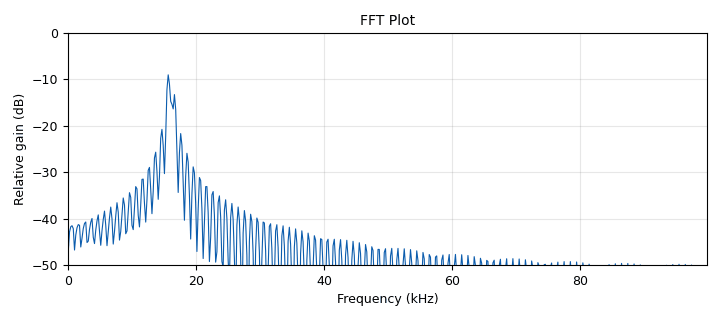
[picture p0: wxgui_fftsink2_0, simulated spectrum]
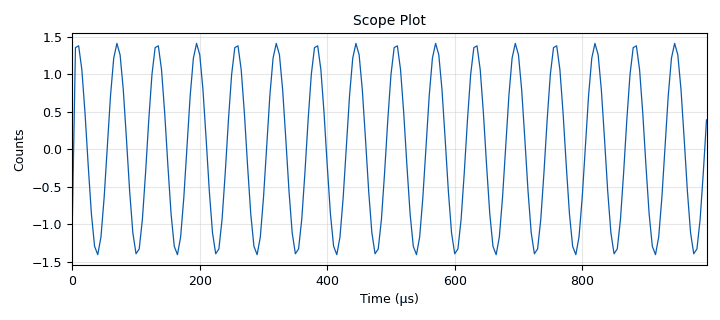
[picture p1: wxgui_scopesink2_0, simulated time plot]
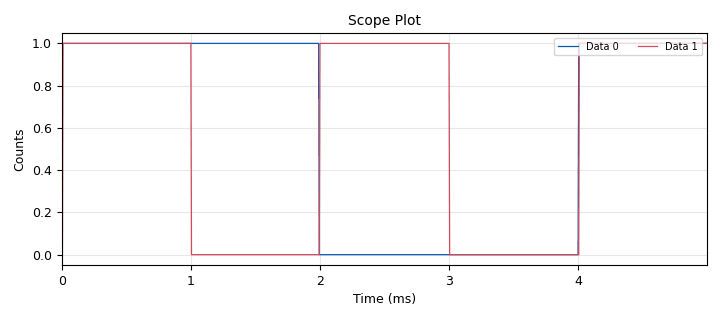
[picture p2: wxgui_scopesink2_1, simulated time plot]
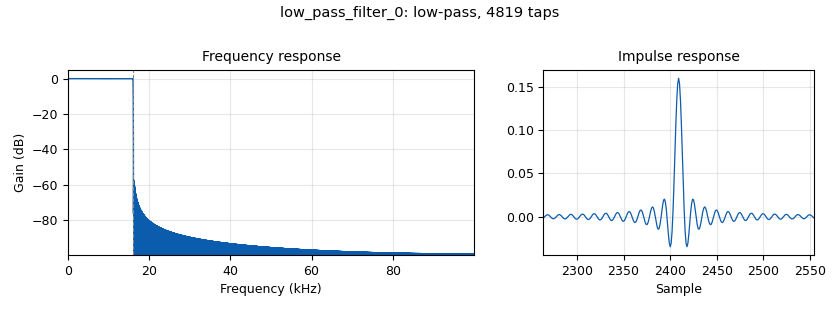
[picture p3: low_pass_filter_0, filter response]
<?xml version='1.0' encoding='utf-8'?>
<flow_graph>
<block>
<key>options</key>
<param><key>id</key><value>QPSK_TXRX_REAL</value></param>
<param><key>title</key><value>Real QPSK Transmitter/Receiver</value></param>
<param><key>author</key><value>ELEC350</value></param>
<param><key>generate_options</key><value>wx_gui</value></param>
<param><key>category</key><value>Custom</value></param>
</block>
<block>
<key>variable</key>
<param><key>id</key><value>samp_rate</value></param>
<param><key>value</key><value>200000</value></param>
</block>
<block>
<key>notebook</key>
<param><key>id</key><value>notebook_0</value></param>
<param><key>style</key><value>wx.NB_TOP</value></param>
<param><key>labels</key><value>['Transmitted Waveform', 'Transmitted Spectrum', 'Received Bits']</value></param>
</block>
<block>
<key>blocks_multiply_xx</key>
<param><key>id</key><value>blocks_multiply_xx_0</value></param>
<param><key>type</key><value>float</value></param>
</block>
<block>
<key>blocks_multiply_xx</key>
<param><key>id</key><value>blocks_multiply_xx_1</value></param>
<param><key>type</key><value>float</value></param>
</block>
<block>
<key>blocks_add_xx</key>
<param><key>id</key><value>blocks_add_xx_0</value></param>
<param><key>type</key><value>float</value></param>
</block>
<block>
<key>blocks_throttle</key>
<param><key>id</key><value>blocks_throttle_0</value></param>
<param><key>type</key><value>float</value></param>
<param><key>samples_per_second</key><value>samp_rate</value></param>
</block>
<block>
<key>virtual_sink</key>
<param><key>id</key><value>virtual_sink_0</value></param>
<param><key>stream_id</key><value>channel</value></param>
</block>
<block>
<key>note</key>
<param><key>id</key><value>note_0</value></param>
<param><key>note</key><value>Transmitter</value></param>
</block>
<block>
<key>virtual_source</key>
<param><key>id</key><value>virtual_source_0</value></param>
<param><key>stream_id</key><value>channel</value></param>
</block>
<block>
<key>blocks_multiply_xx</key>
<param><key>id</key><value>blocks_multiply_xx_2</value></param>
<param><key>type</key><value>float</value></param>
</block>
<block>
<key>blocks_multiply_xx</key>
<param><key>id</key><value>blocks_multiply_xx_3</value></param>
<param><key>type</key><value>float</value></param>
</block>
<block>
<key>low_pass_filter</key>
<param><key>id</key><value>low_pass_filter_0</value></param>
<param><key>type</key><value>fir_filter_fff</value></param>
<param><key>decim</key><value>1</value></param>
<param><key>gain</key><value>1</value></param>
<param><key>samp_rate</key><value>samp_rate</value></param>
<param><key>cutoff_freq</key><value>16000</value></param>
<param><key>width</key><value>100</value></param>
<param><key>win</key><value>firdes.WIN_HAMMING</value></param>
</block>
<block>
<key>low_pass_filter</key>
<param><key>id</key><value>low_pass_filter_1</value></param>
<param><key>type</key><value>fir_filter_fff</value></param>
<param><key>decim</key><value>1</value></param>
<param><key>gain</key><value>1</value></param>
<param><key>samp_rate</key><value>samp_rate</value></param>
<param><key>cutoff_freq</key><value>16000</value></param>
<param><key>width</key><value>100</value></param>
<param><key>win</key><value>firdes.WIN_HAMMING</value></param>
</block>
<block>
<key>blocks_threshold_ff</key>
<param><key>id</key><value>blocks_threshold_ff_0</value></param>
<param><key>low</key><value>-.25</value></param>
<param><key>high</key><value>.25</value></param>
<param><key>init</key><value>0</value></param>
</block>
<block>
<key>blocks_threshold_ff</key>
<param><key>id</key><value>blocks_threshold_ff_1</value></param>
<param><key>low</key><value>-0.25</value></param>
<param><key>high</key><value>0.25</value></param>
<param><key>init</key><value>0</value></param>
</block>
<block>
<key>note</key>
<param><key>id</key><value>note_1</value></param>
<param><key>note</key><value>Receiver</value></param>
</block>
<block>
<key>analog_sig_source_x</key>
<param><key>id</key><value>analog_sig_source_x_2</value></param>
<param><key>type</key><value>float</value></param>
<param><key>samp_rate</key><value>samp_rate</value></param>
<param><key>waveform</key><value>analog.GR_COS_WAVE</value></param>
<param><key>freq</key><value>16000</value></param>
<param><key>amp</key><value>1</value></param>
<param><key>offset</key><value>0</value></param>
</block>
<block>
<key>analog_sig_source_x</key>
<param><key>id</key><value>analog_sig_source_x_1</value></param>
<param><key>type</key><value>float</value></param>
<param><key>samp_rate</key><value>samp_rate</value></param>
<param><key>waveform</key><value>analog.GR_SQR_WAVE</value></param>
<param><key>freq</key><value>500</value></param>
<param><key>amp</key><value>2</value></param>
<param><key>offset</key><value>-1</value></param>
</block>
<block>
<key>analog_sig_source_x</key>
<param><key>id</key><value>analog_sig_source_x_5</value></param>
<param><key>type</key><value>float</value></param>
<param><key>samp_rate</key><value>samp_rate</value></param>
<param><key>waveform</key><value>analog.GR_SIN_WAVE</value></param>
<param><key>freq</key><value>16000</value></param>
<param><key>amp</key><value>1</value></param>
<param><key>offset</key><value>0</value></param>
</block>
<block>
<key>analog_sig_source_x</key>
<param><key>id</key><value>analog_sig_source_x_0</value></param>
<param><key>type</key><value>float</value></param>
<param><key>samp_rate</key><value>samp_rate</value></param>
<param><key>waveform</key><value>analog.GR_SQR_WAVE</value></param>
<param><key>freq</key><value>250</value></param>
<param><key>amp</key><value>2</value></param>
<param><key>offset</key><value>-1</value></param>
</block>
<block>
<key>analog_sig_source_x</key>
<param><key>id</key><value>analog_sig_source_x_3</value></param>
<param><key>type</key><value>float</value></param>
<param><key>samp_rate</key><value>samp_rate</value></param>
<param><key>waveform</key><value>analog.GR_SIN_WAVE</value></param>
<param><key>freq</key><value>16000</value></param>
<param><key>amp</key><value>1</value></param>
<param><key>offset</key><value>0</value></param>
</block>
<block>
<key>analog_sig_source_x</key>
<param><key>id</key><value>analog_sig_source_x_4</value></param>
<param><key>type</key><value>float</value></param>
<param><key>samp_rate</key><value>samp_rate</value></param>
<param><key>waveform</key><value>analog.GR_COS_WAVE</value></param>
<param><key>freq</key><value>16000</value></param>
<param><key>amp</key><value>-1</value></param>
<param><key>offset</key><value>0</value></param>
</block>
<block>
<key>wxgui_fftsink2</key>
<param><key>id</key><value>wxgui_fftsink2_0</value></param>
<param><key>type</key><value>float</value></param>
<param><key>title</key><value>FFT Plot</value></param>
<param><key>samp_rate</key><value>samp_rate</value></param>
<param><key>baseband_freq</key><value>0</value></param>
<param><key>y_per_div</key><value>5</value></param>
<param><key>y_divs</key><value>10</value></param>
<param><key>ref_level</key><value>0</value></param>
<param><key>ref_scale</key><value>2.0</value></param>
<param><key>fft_size</key><value>1024</value></param>
<param><key>fft_rate</key><value>30</value></param>
<param><key>peak_hold</key><value>False</value></param>
<param><key>average</key><value>False</value></param>
<param><key>avg_alpha</key><value>0</value></param>
<param><key>win</key><value>None</value></param>
<param><key>notebook</key><value>notebook_0,1</value></param>
<param><key>freqvar</key><value>None</value></param>
</block>
<block>
<key>wxgui_scopesink2</key>
<param><key>id</key><value>wxgui_scopesink2_0</value></param>
<param><key>type</key><value>float</value></param>
<param><key>title</key><value>Scope Plot</value></param>
<param><key>samp_rate</key><value>samp_rate</value></param>
<param><key>v_scale</key><value>0.5</value></param>
<param><key>v_offset</key><value>0</value></param>
<param><key>t_scale</key><value>0.0001</value></param>
<param><key>ac_couple</key><value>False</value></param>
<param><key>xy_mode</key><value>False</value></param>
<param><key>num_inputs</key><value>1</value></param>
<param><key>notebook</key><value>notebook_0,0</value></param>
<param><key>trig_mode</key><value>wxgui.TRIG_MODE_AUTO</value></param>
<param><key>y_axis_label</key><value>Counts</value></param>
</block>
<block>
<key>wxgui_scopesink2</key>
<param><key>id</key><value>wxgui_scopesink2_1</value></param>
<param><key>type</key><value>float</value></param>
<param><key>title</key><value>Scope Plot</value></param>
<param><key>samp_rate</key><value>samp_rate</value></param>
<param><key>v_scale</key><value>0.5</value></param>
<param><key>v_offset</key><value>0</value></param>
<param><key>t_scale</key><value>0.0005</value></param>
<param><key>ac_couple</key><value>False</value></param>
<param><key>xy_mode</key><value>False</value></param>
<param><key>num_inputs</key><value>2</value></param>
<param><key>notebook</key><value>notebook_0,2</value></param>
<param><key>trig_mode</key><value>wxgui.TRIG_MODE_AUTO</value></param>
<param><key>y_axis_label</key><value>Counts</value></param>
</block>
<connection><source_block_id>virtual_source_0</source_block_id><sink_block_id>blocks_multiply_xx_3</sink_block_id><source_key>0</source_key><sink_key>0</sink_key></connection>
<connection><source_block_id>virtual_source_0</source_block_id><sink_block_id>blocks_multiply_xx_2</sink_block_id><source_key>0</source_key><sink_key>0</sink_key></connection>
<connection><source_block_id>blocks_threshold_ff_1</source_block_id><sink_block_id>wxgui_scopesink2_1</sink_block_id><source_key>0</source_key><sink_key>1</sink_key></connection>
<connection><source_block_id>low_pass_filter_1</source_block_id><sink_block_id>blocks_threshold_ff_1</sink_block_id><source_key>0</source_key><sink_key>0</sink_key></connection>
<connection><source_block_id>blocks_threshold_ff_0</source_block_id><sink_block_id>wxgui_scopesink2_1</sink_block_id><source_key>0</source_key><sink_key>0</sink_key></connection>
<connection><source_block_id>low_pass_filter_0</source_block_id><sink_block_id>blocks_threshold_ff_0</sink_block_id><source_key>0</source_key><sink_key>0</sink_key></connection>
<connection><source_block_id>blocks_multiply_xx_3</source_block_id><sink_block_id>low_pass_filter_1</sink_block_id><source_key>0</source_key><sink_key>0</sink_key></connection>
<connection><source_block_id>blocks_multiply_xx_2</source_block_id><sink_block_id>low_pass_filter_0</sink_block_id><source_key>0</source_key><sink_key>0</sink_key></connection>
<connection><source_block_id>analog_sig_source_x_4</source_block_id><sink_block_id>blocks_multiply_xx_3</sink_block_id><source_key>0</source_key><sink_key>1</sink_key></connection>
<connection><source_block_id>analog_sig_source_x_3</source_block_id><sink_block_id>blocks_multiply_xx_2</sink_block_id><source_key>0</source_key><sink_key>1</sink_key></connection>
<connection><source_block_id>analog_sig_source_x_0</source_block_id><sink_block_id>blocks_multiply_xx_1</sink_block_id><source_key>0</source_key><sink_key>1</sink_key></connection>
<connection><source_block_id>analog_sig_source_x_1</source_block_id><sink_block_id>blocks_multiply_xx_0</sink_block_id><source_key>0</source_key><sink_key>1</sink_key></connection>
<connection><source_block_id>blocks_throttle_0</source_block_id><sink_block_id>virtual_sink_0</sink_block_id><source_key>0</source_key><sink_key>0</sink_key></connection>
<connection><source_block_id>blocks_throttle_0</source_block_id><sink_block_id>wxgui_fftsink2_0</sink_block_id><source_key>0</source_key><sink_key>0</sink_key></connection>
<connection><source_block_id>analog_sig_source_x_5</source_block_id><sink_block_id>blocks_multiply_xx_1</sink_block_id><source_key>0</source_key><sink_key>0</sink_key></connection>
<connection><source_block_id>analog_sig_source_x_2</source_block_id><sink_block_id>blocks_multiply_xx_0</sink_block_id><source_key>0</source_key><sink_key>0</sink_key></connection>
<connection><source_block_id>blocks_throttle_0</source_block_id><sink_block_id>wxgui_scopesink2_0</sink_block_id><source_key>0</source_key><sink_key>0</sink_key></connection>
<connection><source_block_id>blocks_add_xx_0</source_block_id><sink_block_id>blocks_throttle_0</sink_block_id><source_key>0</source_key><sink_key>0</sink_key></connection>
<connection><source_block_id>blocks_multiply_xx_1</source_block_id><sink_block_id>blocks_add_xx_0</sink_block_id><source_key>0</source_key><sink_key>1</sink_key></connection>
<connection><source_block_id>blocks_multiply_xx_0</source_block_id><sink_block_id>blocks_add_xx_0</sink_block_id><source_key>0</source_key><sink_key>0</sink_key></connection>
</flow_graph>
